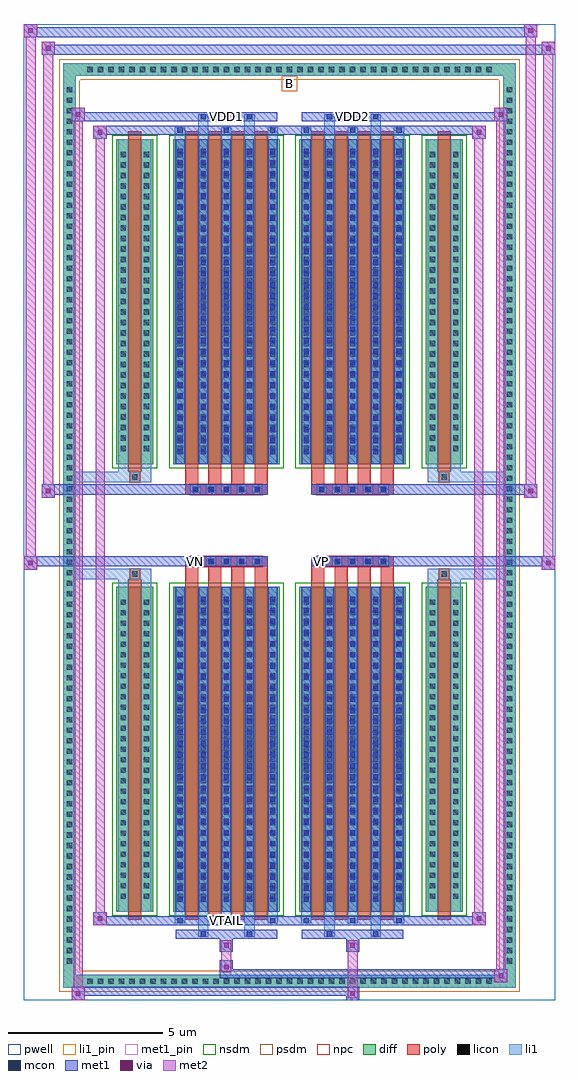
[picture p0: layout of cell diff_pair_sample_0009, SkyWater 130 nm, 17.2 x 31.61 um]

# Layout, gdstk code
import gdstk
lib = gdstk.Library(unit=1e-6, precision=5e-09)
def R(c, l, rs):  # rectangles x0, y0, x1, y1
    for r in rs: c.add(gdstk.rectangle(r[:2], r[2:], *l))
def A(c, l, x, y, w, h, nx, ny, dx, dy):  # array of equal rectangles
    R(c, l, [(x+i*dx, y+j*dy, x+i*dx+w, y+j*dy+h) for i in range(nx) for j in range(ny)])
def P(c, l, *ps):  # polygons
    for p in ps: c.add(gdstk.Polygon(p, *l))
pwell = (64, 44)
diff = (65, 20)
poly = (66, 20)
licon = (66, 44)
li1_pin = (67, 16)
li1 = (67, 20)
mcon = (67, 44)
met1_pin = (68, 16)
met1 = (68, 20)
via = (68, 44)
met2 = (69, 20)
nsdm = (93, 44)
psdm = (94, 20)
npc = (95, 20)

diff_pair_sample_0009 = lib.new_cell('diff_pair_sample_0009')
R(diff_pair_sample_0009, pwell, [(-8.6,-15.37,8.6,16.24), (-5.92,-13.56,-0.01,-0.8), (0.01,-13.56,5.92,-0.8), (-5.92,0.8,-0.01,13.56), (0.01,0.8,5.92,13.56)])
A(diff_pair_sample_0009, diff, -6.665, -14.97, 0.41, 0.41, 39, 2, 0.34, 29.53)
A(diff_pair_sample_0009, diff, -7.33, -14.315, 0.41, 0.41, 1, 84, 0, 0.34)
A(diff_pair_sample_0009, diff, 6.92, -14.315, 0.41, 0.41, 1, 84, 0, 0.34)
R(diff_pair_sample_0009, diff, [(-6.665,-14.97,6.665,-14.56), (-7.33,-14.315,-6.92,14.315), (6.92,-14.315,7.33,14.315), (-5.61,-12.515,-4.41,-1.985), (-3.77,-12.515,-0.32,-1.985), (0.32,-12.515,3.77,-1.985), (4.41,-12.515,5.61,-1.985), (-5.61,1.985,-4.41,12.515), (-3.77,1.985,-0.32,12.515), (0.32,1.985,3.77,12.515), (4.41,1.985,5.61,12.515), (-6.665,14.56,6.665,14.97)])
P(diff_pair_sample_0009, diff, [(7.33,14.97),(-7.33,14.97),(-7.33,-14.56),(-6.92,-14.56),(-6.92,14.56),(6.92,14.56),(6.92,-14.56),(-6.92,-14.56),(-7.33,-14.56),(-7.33,-14.97),(7.33,-14.97)])
A(diff_pair_sample_0009, poly, -3.38, -12.765, 0.42, 11.03, 4, 2, 0.75, 14.5)
A(diff_pair_sample_0009, poly, 0.71, -12.765, 0.42, 11.03, 4, 2, 0.75, 14.5)
A(diff_pair_sample_0009, poly, -3.38, -1.735, 0.42, 0.405, 4, 2, 0.75, 3.065)
A(diff_pair_sample_0009, poly, 0.71, -1.735, 0.42, 0.405, 4, 2, 0.75, 3.065)
A(diff_pair_sample_0009, poly, -3.21, -1.33, 0.33, 0.33, 5, 2, 0.5, 2.33)
A(diff_pair_sample_0009, poly, 0.88, -1.33, 0.33, 0.33, 5, 2, 0.5, 2.33)
R(diff_pair_sample_0009, poly, [(-5.22,-12.765,-4.8,-1.735), (4.8,-12.765,5.22,-1.735), (-5.175,-1.735,-4.845,-1.405), (-5.175,-1.735,-4.845,-1.405), (4.845,-1.735,5.175,-1.405), (4.845,-1.735,5.175,-1.405), (-3.38,-1.33,-0.71,-1), (0.71,-1.33,3.38,-1), (-3.38,1,-0.71,1.33), (0.71,1,3.38,1.33), (-5.175,1.405,-4.845,1.735), (-5.175,1.405,-4.845,1.735), (4.845,1.405,5.175,1.735), (4.845,1.405,5.175,1.735), (-5.22,1.735,-4.8,12.765), (4.8,1.735,5.22,12.765)])
A(diff_pair_sample_0009, licon, -6.545, -14.85, 0.17, 0.17, 39, 2, 0.34, 29.53)
A(diff_pair_sample_0009, licon, -7.21, -14.195, 0.17, 0.17, 1, 84, 0, 0.34)
A(diff_pair_sample_0009, licon, 7.04, -14.195, 0.17, 0.17, 1, 84, 0, 0.34)
A(diff_pair_sample_0009, licon, -5.47, -12.095, 0.17, 0.17, 1, 29, 0, 0.34)
A(diff_pair_sample_0009, licon, -4.72, -12.095, 0.17, 0.17, 1, 29, 0, 0.34)
A(diff_pair_sample_0009, licon, -3.63, -12.095, 0.17, 0.17, 5, 29, 0.75, 0.34)
A(diff_pair_sample_0009, licon, 0.46, -12.095, 0.17, 0.17, 5, 29, 0.75, 0.34)
A(diff_pair_sample_0009, licon, 4.55, -12.095, 0.17, 0.17, 1, 29, 0, 0.34)
A(diff_pair_sample_0009, licon, 5.3, -12.095, 0.17, 0.17, 1, 29, 0, 0.34)
A(diff_pair_sample_0009, licon, -3.13, -1.25, 0.17, 0.17, 5, 2, 0.5, 2.33)
A(diff_pair_sample_0009, licon, 0.96, -1.25, 0.17, 0.17, 5, 2, 0.5, 2.33)
A(diff_pair_sample_0009, licon, -5.47, 2.405, 0.17, 0.17, 1, 29, 0, 0.34)
A(diff_pair_sample_0009, licon, -4.72, 2.405, 0.17, 0.17, 1, 29, 0, 0.34)
A(diff_pair_sample_0009, licon, -3.63, 2.405, 0.17, 0.17, 5, 29, 0.75, 0.34)
A(diff_pair_sample_0009, licon, 0.46, 2.405, 0.17, 0.17, 5, 29, 0.75, 0.34)
A(diff_pair_sample_0009, licon, 4.55, 2.405, 0.17, 0.17, 1, 29, 0, 0.34)
A(diff_pair_sample_0009, licon, 5.3, 2.405, 0.17, 0.17, 1, 29, 0, 0.34)
R(diff_pair_sample_0009, licon, [(-5.095,-1.655,-4.925,-1.485), (4.925,-1.655,5.095,-1.485), (-5.095,1.485,-4.925,1.655), (4.925,1.485,5.095,1.655)])
R(diff_pair_sample_0009, li1_pin, [(-0.25,14.06,0.25,14.56)])
A(diff_pair_sample_0009, li1, -6.625, -14.93, 0.33, 0.33, 39, 2, 0.34, 29.53)
A(diff_pair_sample_0009, li1, -7.29, -14.275, 0.33, 0.33, 1, 84, 0, 0.34)
A(diff_pair_sample_0009, li1, 6.96, -14.275, 0.33, 0.33, 1, 84, 0, 0.34)
A(diff_pair_sample_0009, li1, -3.71, -12.89, 0.33, 0.375, 3, 2, 1.5, 25.405)
A(diff_pair_sample_0009, li1, -3.63, -12.89, 0.17, 0.17, 3, 2, 1.5, 25.61)
A(diff_pair_sample_0009, li1, 0.38, -12.89, 0.33, 0.375, 3, 2, 1.5, 25.405)
A(diff_pair_sample_0009, li1, 0.46, -12.89, 0.17, 0.17, 3, 2, 1.5, 25.61)
A(diff_pair_sample_0009, li1, -3.71, -12.515, 0.33, 10.53, 5, 2, 0.75, 14.5)
A(diff_pair_sample_0009, li1, 0.38, -12.515, 0.33, 10.53, 5, 2, 0.75, 14.5)
A(diff_pair_sample_0009, li1, -3.63, -12.195, 0.17, 0.17, 5, 28, 0.75, 0.36)
A(diff_pair_sample_0009, li1, -3.63, -12.195, 0.17, 9.89, 5, 2, 0.75, 14.5)
A(diff_pair_sample_0009, li1, 0.46, -12.195, 0.17, 0.17, 5, 28, 0.75, 0.36)
A(diff_pair_sample_0009, li1, 0.46, -12.195, 0.17, 9.89, 5, 2, 0.75, 14.5)
A(diff_pair_sample_0009, li1, -5.55, -12.175, 0.33, 0.33, 1, 29, 0, 0.34)
A(diff_pair_sample_0009, li1, -4.8, -12.175, 0.33, 0.33, 1, 29, 0, 0.34)
A(diff_pair_sample_0009, li1, -3.71, -12.175, 0.33, 0.33, 5, 29, 0.75, 0.34)
A(diff_pair_sample_0009, li1, 0.38, -12.175, 0.33, 0.33, 5, 29, 0.75, 0.34)
A(diff_pair_sample_0009, li1, 4.47, -12.175, 0.33, 0.33, 1, 29, 0, 0.34)
A(diff_pair_sample_0009, li1, 5.22, -12.175, 0.33, 0.33, 1, 29, 0, 0.34)
A(diff_pair_sample_0009, li1, -3.21, -1.33, 0.33, 0.33, 5, 2, 0.5, 2.33)
A(diff_pair_sample_0009, li1, 0.88, -1.33, 0.33, 0.33, 5, 2, 0.5, 2.33)
A(diff_pair_sample_0009, li1, -3.63, 2.305, 0.17, 0.17, 5, 28, 0.75, 0.36)
A(diff_pair_sample_0009, li1, 0.46, 2.305, 0.17, 0.17, 5, 28, 0.75, 0.36)
A(diff_pair_sample_0009, li1, -5.55, 2.325, 0.33, 0.33, 1, 29, 0, 0.34)
A(diff_pair_sample_0009, li1, -4.8, 2.325, 0.33, 0.33, 1, 29, 0, 0.34)
A(diff_pair_sample_0009, li1, -3.71, 2.325, 0.33, 0.33, 5, 29, 0.75, 0.34)
A(diff_pair_sample_0009, li1, 0.38, 2.325, 0.33, 0.33, 5, 29, 0.75, 0.34)
A(diff_pair_sample_0009, li1, 4.47, 2.325, 0.33, 0.33, 1, 29, 0, 0.34)
A(diff_pair_sample_0009, li1, 5.22, 2.325, 0.33, 0.33, 1, 29, 0, 0.34)
R(diff_pair_sample_0009, li1, [(-7.33,-14.97,-6.92,-14.56), (-7.33,-14.97,-6.92,-14.56), (-6.92,-14.97,6.92,-14.56), (6.92,-14.97,7.33,-14.56), (6.92,-14.97,7.33,-14.56), (-7.33,-14.56,-6.92,14.56), (6.92,-14.56,7.33,14.56), (-2.96,-13.32,-2.63,-12.515), (-2.88,-13.32,-2.71,-13.15), (-1.46,-13.32,-1.13,-12.515), (-1.38,-13.32,-1.21,-13.15), (1.13,-13.32,1.46,-12.515), (1.21,-13.32,1.38,-13.15), (2.63,-13.32,2.96,-12.515), (2.71,-13.32,2.88,-13.15), (-5.55,-12.515,-5.22,-1.985), (-4.8,-12.515,-4.47,-1.985), (4.47,-12.515,4.8,-1.985), (5.22,-12.515,5.55,-1.985), (-5.55,-1.985,-5.22,-1.405), (-4.8,-1.985,-4.47,-1.405), (4.47,-1.985,4.8,-1.405), (5.22,-1.985,5.55,-1.405), (-7.33,-1.735,-5.175,-1.405), (-5.55,-1.735,-5.175,-1.405), (-5.175,-1.735,-4.845,-1.405), (-4.845,-1.735,-4.47,-1.405), (4.47,-1.735,4.845,-1.405), (4.845,-1.735,5.175,-1.405), (4.845,-1.735,7.33,-1.405), (5.175,-1.735,5.55,-1.405), (-7.33,1.405,-5.175,1.735), (-5.55,1.405,-5.175,1.735), (-5.55,1.405,-5.22,1.985), (-5.175,1.405,-4.845,1.735), (-4.845,1.405,-4.47,1.735), (-4.8,1.405,-4.47,1.985), (4.47,1.405,4.845,1.735), (4.47,1.405,4.8,1.985), (4.845,1.405,5.175,1.735), (4.845,1.405,7.33,1.735), (5.175,1.405,5.55,1.735), (5.22,1.405,5.55,1.985), (-5.55,1.985,-5.22,12.515), (-4.8,1.985,-4.47,12.515), (4.47,1.985,4.8,12.515), (5.22,1.985,5.55,12.515), (-2.96,12.515,-2.63,13.32), (-1.46,12.515,-1.13,13.32), (1.13,12.515,1.46,13.32), (2.63,12.515,2.96,13.32), (-2.88,13.15,-2.71,13.32), (-1.38,13.15,-1.21,13.32), (1.21,13.15,1.38,13.32), (2.71,13.15,2.88,13.32), (-7.33,14.56,-6.92,14.97), (-7.33,14.56,-6.92,14.97), (-6.92,14.56,6.92,14.97), (6.92,14.56,7.33,14.97), (6.92,14.56,7.33,14.97)])
A(diff_pair_sample_0009, mcon, -3.63, -12.89, 0.17, 0.17, 3, 2, 1.5, 25.61)
A(diff_pair_sample_0009, mcon, 0.46, -12.89, 0.17, 0.17, 3, 2, 1.5, 25.61)
A(diff_pair_sample_0009, mcon, -3.63, -12.195, 0.17, 0.17, 5, 28, 0.75, 0.36)
A(diff_pair_sample_0009, mcon, 0.46, -12.195, 0.17, 0.17, 5, 28, 0.75, 0.36)
A(diff_pair_sample_0009, mcon, -3.13, -1.25, 0.17, 0.17, 5, 2, 0.5, 2.33)
A(diff_pair_sample_0009, mcon, 0.96, -1.25, 0.17, 0.17, 5, 2, 0.5, 2.33)
A(diff_pair_sample_0009, mcon, -3.63, 2.305, 0.17, 0.17, 5, 28, 0.75, 0.36)
A(diff_pair_sample_0009, mcon, 0.46, 2.305, 0.17, 0.17, 5, 28, 0.75, 0.36)
R(diff_pair_sample_0009, mcon, [(-2.88,-13.32,-2.71,-13.15), (-1.38,-13.32,-1.21,-13.15), (1.21,-13.32,1.38,-13.15), (2.71,-13.32,2.88,-13.15), (-2.88,13.15,-2.71,13.32), (-1.38,13.15,-1.21,13.32), (1.21,13.15,1.38,13.32), (2.71,13.15,2.88,13.32)])
R(diff_pair_sample_0009, met1_pin, [(-2.18,-12.93,-1.91,-12.66), (-3.18,-1.29,-2.91,-1.02), (0.91,-1.29,1.18,-1.02), (-2.18,13.11,-1.91,13.38), (1.91,13.11,2.18,13.38)])
A(diff_pair_sample_0009, met1, -3.69, -12.95, 0.29, 0.29, 3, 2, 1.5, 25.61)
A(diff_pair_sample_0009, met1, 0.4, -12.95, 0.29, 0.29, 3, 2, 1.5, 25.61)
A(diff_pair_sample_0009, met1, -3.69, -12.515, 0.29, 10.53, 5, 2, 0.75, 14.5)
A(diff_pair_sample_0009, met1, 0.4, -12.515, 0.29, 10.53, 5, 2, 0.75, 14.5)
A(diff_pair_sample_0009, met1, -3.69, -12.255, 0.29, 0.29, 5, 28, 0.75, 0.36)
A(diff_pair_sample_0009, met1, 0.4, -12.255, 0.29, 0.29, 5, 28, 0.75, 0.36)
A(diff_pair_sample_0009, met1, -3.19, -1.31, 0.29, 0.29, 5, 2, 0.5, 2.33)
A(diff_pair_sample_0009, met1, 0.9, -1.31, 0.29, 0.29, 5, 2, 0.5, 2.33)
A(diff_pair_sample_0009, met1, -3.69, 2.245, 0.29, 0.29, 5, 28, 0.75, 0.36)
A(diff_pair_sample_0009, met1, 0.4, 2.245, 0.29, 0.29, 5, 28, 0.75, 0.36)
R(diff_pair_sample_0009, met1, [(-7.06,-15.37,-6.63,-14.94), (1.83,-15.37,2.26,-14.94), (-7.06,-15.23,2.26,-14.94), (6.63,-14.8,7.06,-14.37), (-2.26,-14.66,7.06,-14.37), (-2.26,-14.52,-1.83,-14.09), (-2.26,-13.81,-1.83,-13.38), (1.83,-13.81,2.26,-13.38), (-3.69,-13.38,-0.4,-13.09), (-2.94,-13.38,-2.65,-13.09), (-1.44,-13.38,-1.15,-13.09), (0.4,-13.38,3.69,-13.09), (1.15,-13.38,1.44,-13.09), (2.65,-13.38,2.94,-13.09), (-6.35,-12.95,-5.92,-12.52), (-6.35,-12.95,-3.69,-12.66), (-3.69,-12.95,-0.4,-12.66), (-0.4,-12.95,0.4,-12.66), (0.4,-12.95,3.69,-12.66), (3.69,-12.95,6.35,-12.66), (5.92,-12.95,6.35,-12.52), (-8.6,-1.43,-8.17,-1), (8.17,-1.43,8.6,-1), (-8.6,-1.33,-0.71,-1), (-3.38,-1.33,-0.71,-1), (0.71,-1.33,3.38,-1), (0.71,-1.33,8.6,-1), (-8.03,0.9,-7.6,1.33), (7.6,0.9,8.03,1.33), (-8.03,1,-3.38,1.33), (-3.38,1,-0.71,1.33), (0.71,1,3.38,1.33), (3.38,1,8.03,1.33), (-6.35,12.52,-5.92,12.95), (5.92,12.52,6.35,12.95), (-6.35,12.66,-3.69,12.95), (-3.69,12.66,-0.4,12.95), (-0.4,12.66,0.4,12.95), (0.4,12.66,3.69,12.95), (3.69,12.66,6.35,12.95), (-7.06,13.09,-6.63,13.52), (-7.06,13.09,-3.69,13.38), (-3.69,13.09,-0.4,13.38), (-2.94,13.09,-2.65,13.38), (-1.44,13.09,-1.15,13.38), (0.4,13.09,3.69,13.38), (1.15,13.09,1.44,13.38), (2.65,13.09,2.94,13.38), (3.69,13.09,7.06,13.38), (6.63,13.09,7.06,13.52), (-8.03,15.24,-7.6,15.67), (-8.03,15.24,-5.92,15.57), (-5.92,15.24,5.92,15.57), (5.92,15.24,8.6,15.57), (8.17,15.24,8.6,15.67), (-8.6,15.81,-8.17,16.24), (-8.6,15.81,-5.92,16.14), (-5.92,15.81,5.92,16.14), (5.92,15.81,8.03,16.14), (7.6,15.81,8.03,16.24)])
R(diff_pair_sample_0009, via, [(-6.92,-15.23,-6.77,-15.08), (1.97,-15.23,2.12,-15.08), (6.77,-14.66,6.92,-14.51), (-2.12,-14.38,-1.97,-14.23), (-2.12,-13.67,-1.97,-13.52), (1.97,-13.67,2.12,-13.52), (-6.21,-12.81,-6.06,-12.66), (6.06,-12.81,6.21,-12.66), (-8.46,-1.29,-8.31,-1.14), (8.31,-1.29,8.46,-1.14), (-7.89,1.04,-7.74,1.19), (7.74,1.04,7.89,1.19), (-6.21,12.66,-6.06,12.81), (6.06,12.66,6.21,12.81), (-6.92,13.23,-6.77,13.38), (6.77,13.23,6.92,13.38), (-7.89,15.38,-7.74,15.53), (8.31,15.38,8.46,15.53), (-8.46,15.95,-8.31,16.1), (7.74,15.95,7.89,16.1)])
R(diff_pair_sample_0009, met2, [(-7.06,-15.37,-6.63,-14.94), (-6.99,-15.37,-6.7,13.52), (-6.7,-15.37,-6.63,-14.94), (-7.01,-15.32,-6.68,-14.99), (1.88,-15.32,2.21,-14.99), (1.88,-14.99,2.21,-13.76), (6.63,-14.8,7.06,-14.37), (6.7,-14.8,6.99,13.52), (6.99,-14.8,7.06,-14.37), (6.68,-14.75,7.01,-14.42), (-2.21,-14.47,-1.88,-14.14), (-2.21,-14.14,-1.88,-13.76), (-2.21,-13.76,-1.88,-13.43), (1.88,-13.76,2.21,-13.43), (-6.35,-12.95,-5.92,-12.52), (-6.28,-12.95,-5.99,12.95), (-5.99,-12.95,-5.92,-12.52), (5.92,-12.95,6.35,-12.52), (5.99,-12.95,6.28,12.95), (6.28,-12.95,6.35,-12.52), (-6.3,-12.9,-5.97,-12.57), (5.97,-12.9,6.3,-12.57), (-8.6,-1.43,-8.17,-1), (-8.55,-1.43,-8.22,16.24), (-8.22,-1.43,-8.17,-1), (8.17,-1.43,8.6,-1), (8.22,-1.43,8.55,15.67), (8.55,-1.43,8.6,-1), (-8.55,-1.38,-8.22,-1.05), (8.22,-1.38,8.55,-1.05), (-8.03,0.9,-7.6,1.33), (-7.98,0.9,-7.65,15.67), (-7.65,0.9,-7.6,1.33), (7.6,0.9,8.03,1.33), (7.65,0.9,7.98,16.24), (7.98,0.9,8.03,1.33), (-7.98,0.95,-7.65,1.28), (7.65,0.95,7.98,1.28), (-6.35,12.52,-5.92,12.95), (-5.99,12.52,-5.92,12.95), (5.92,12.52,6.35,12.95), (6.28,12.52,6.35,12.95), (-6.3,12.57,-5.97,12.9), (5.97,12.57,6.3,12.9), (-7.06,13.09,-6.63,13.52), (-6.7,13.09,-6.63,13.52), (6.63,13.09,7.06,13.52), (6.99,13.09,7.06,13.52), (-7.01,13.14,-6.68,13.47), (6.68,13.14,7.01,13.47), (-8.03,15.24,-7.6,15.67), (-7.65,15.24,-7.6,15.67), (8.17,15.24,8.6,15.67), (8.55,15.24,8.6,15.67), (-7.98,15.29,-7.65,15.62), (8.22,15.29,8.55,15.62), (-8.6,15.81,-8.17,16.24), (-8.22,15.81,-8.17,16.24), (7.6,15.81,8.03,16.24), (7.98,15.81,8.03,16.24), (-8.55,15.86,-8.22,16.19), (7.65,15.86,7.98,16.19)])
R(diff_pair_sample_0009, nsdm, [(-5.74,-12.645,-4.28,-1.855), (-3.9,-12.645,-0.19,-1.855), (0.19,-12.645,3.9,-1.855), (4.28,-12.645,5.74,-1.855), (-5.74,1.855,-4.28,12.645), (-3.9,1.855,-0.19,12.645), (0.19,1.855,3.9,12.645), (4.28,1.855,5.74,12.645)])
P(diff_pair_sample_0009, psdm, [(7.46,15.1),(-7.46,15.1),(-7.46,-14.43),(-6.79,-14.43),(-6.79,14.43),(6.79,14.43),(6.79,-14.43),(-6.79,-14.43),(-7.46,-14.43),(-7.46,-15.1),(7.46,-15.1)])
A(diff_pair_sample_0009, npc, -3.23, -1.35, 0.37, 0.37, 5, 2, 0.5, 2.33)
A(diff_pair_sample_0009, npc, 0.86, -1.35, 0.37, 0.37, 5, 2, 0.5, 2.33)
R(diff_pair_sample_0009, npc, [(-5.195,-1.755,-4.825,-1.385), (4.825,-1.755,5.195,-1.385), (-3.23,-1.35,-2.36,-0.98), (-3.23,-1.35,-2.36,-0.98), (-2.73,-1.35,-1.86,-0.98), (-2.73,-1.35,-1.86,-0.98), (-2.23,-1.35,-1.36,-0.98), (-2.23,-1.35,-1.36,-0.98), (-1.73,-1.35,-0.86,-0.98), (-1.73,-1.35,-0.86,-0.98), (0.86,-1.35,1.73,-0.98), (0.86,-1.35,1.73,-0.98), (1.36,-1.35,2.23,-0.98), (1.36,-1.35,2.23,-0.98), (1.86,-1.35,2.73,-0.98), (1.86,-1.35,2.73,-0.98), (2.36,-1.35,3.23,-0.98), (2.36,-1.35,3.23,-0.98), (-3.23,0.98,-2.36,1.35), (-3.23,0.98,-2.36,1.35), (-2.73,0.98,-1.86,1.35), (-2.73,0.98,-1.86,1.35), (-2.23,0.98,-1.36,1.35), (-2.23,0.98,-1.36,1.35), (-1.73,0.98,-0.86,1.35), (-1.73,0.98,-0.86,1.35), (0.86,0.98,1.73,1.35), (0.86,0.98,1.73,1.35), (1.36,0.98,2.23,1.35), (1.36,0.98,2.23,1.35), (1.86,0.98,2.73,1.35), (1.86,0.98,2.73,1.35), (2.36,0.98,3.23,1.35), (2.36,0.98,3.23,1.35), (-5.195,1.385,-4.825,1.755), (4.825,1.385,5.195,1.755)])
diff_pair_sample_0009.add(gdstk.Label('VTAIL', (-2.045,-12.795), layer=68, texttype=5))
diff_pair_sample_0009.add(gdstk.Label('VN', (-3.045,-1.155), layer=68, texttype=5))
diff_pair_sample_0009.add(gdstk.Label('VP', (1.045,-1.155), layer=68, texttype=5))
diff_pair_sample_0009.add(gdstk.Label('B', (0,14.31), layer=67, texttype=5))
diff_pair_sample_0009.add(gdstk.Label('VDD2', (2.045,13.245), layer=68, texttype=5))
diff_pair_sample_0009.add(gdstk.Label('VDD1', (-2.045,13.245), layer=68, texttype=5))

lib.write_gds('diff_pair_sample_0009.gds')
